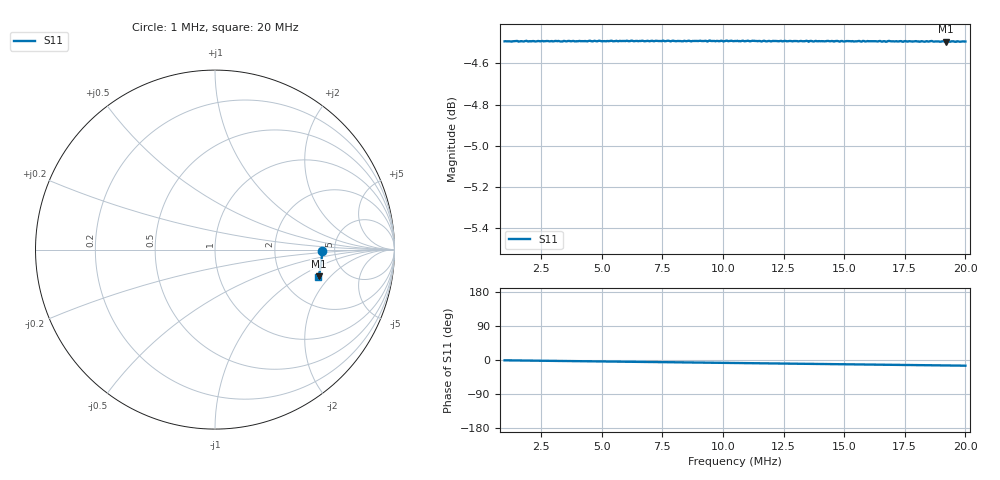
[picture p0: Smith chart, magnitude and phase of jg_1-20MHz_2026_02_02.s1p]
# HZ S RI R 50
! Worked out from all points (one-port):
!   401 points, 1 MHz to 20 MHz, reference 50 ohm
!   lowest |S11| = -4.5 dB at 19.19 MHz (marker M1), VSWR 3.95, Z = 161 - j73.8 ohm
!   |S11| at or under -10 dB: nowhere
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1000000  0.5961 -0.00861
1095000  0.5961 -0.00936
1380000  0.5961 -0.0115
2472500  0.5958 -0.02
3137500  0.5957 -0.0251
3375000  0.5955 -0.0269
4800000  0.595 -0.038
5750000  0.5946 -0.0453
6130000  0.5943 -0.0482
7175000  0.5936 -0.0563
8125000  0.5929 -0.0635
9550000  0.5916 -0.0746
1.05e7  0.5906 -0.0819
1.126e7  0.5898 -0.0878
1.2875e7  0.5877 -0.1001
1.41575e7  0.586 -0.1099
1.4395e7  0.5856 -0.1118
1.47275e7  0.5852 -0.1143
1.525e7  0.5844 -0.1182
1.639e7  0.5825 -0.1266
1.66275e7  0.5822 -0.1285
1.69125e7  0.5816 -0.1309
1.7625e7  0.5803 -0.1362
1.8385e7  0.5791 -0.1419
1.85275e7  0.5788 -0.1429
1.91925e7  0.5774 -0.1479
1.9905e7  0.5761 -0.1533
2e7  0.5759 -0.154
